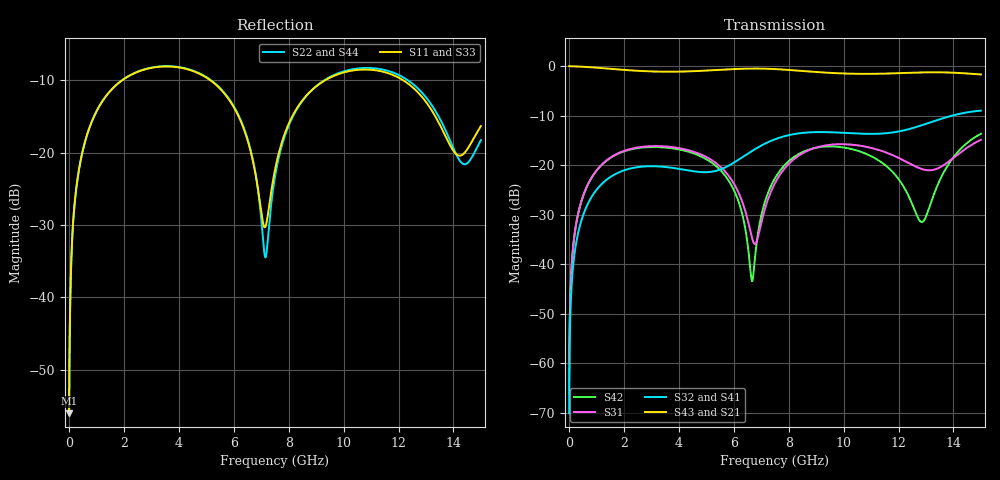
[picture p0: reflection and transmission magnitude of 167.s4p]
! Created with skrf 1.8.0 (http://scikit-rf.org).
# GHz S RI R 50.0
!freq ReS11 ImS11 ReS12 ImS12 ReS13 ImS13
! ReS14 ImS14
! ReS21 ImS21 ReS22 ImS22 ReS23 ImS23
! ReS24 ImS24
! ReS31 ImS31 ReS32 ImS32 ReS33 ImS33
! ReS34 ImS34
! ReS41 ImS41 ReS42 ImS42 ReS43 ImS43
! ReS44 ImS44
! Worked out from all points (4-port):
!   2499 points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, 5 MHz to 15 GHz, reference 50 ohm
!   strongest paths, dB at 5 MHz, 3.476 GHz, 7.19 GHz, 11.1 GHz, 15 GHz:
!     S43: 0.0, -1.1, -0.5, -1.6, -1.7
!     S21: 0.0, -1.1, -0.5, -1.6, -1.7
!     S32: -70.1, -20.3, -15.5, -13.7, -9.0
!     S41: -70.1, -20.3, -15.5, -13.6, -8.9
!     S31: -66.2, -16.2, -27.8, -16.6, -14.9
!     S42: -66.2, -16.4, -26.5, -18.5, -13.7
!   lowest |S11| = -56.0 dB at 5 MHz (marker M1), VSWR 1.00, Z = 50.1 + j0.0962 ohm
!   |S11| at or under -10 dB: start of sweep to 1.934 GHz; 5.151 GHz to 9.322 GHz (4.171 GHz wide, 57.6 % of centre); 12.17 GHz to end of sweep
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0.005  0.00126 0.00096  0.9987 -0.00246  6.19e-05 0.000488  -6.02e-05 -0.000307
       0.9987 -0.00246  0.00126 0.00096  -6.02e-05 -0.000307  6.18e-05 0.000488
       6.19e-05 0.000488  -6.02e-05 -0.000307  0.00126 0.00096  0.9987 -0.00246
       -6.02e-05 -0.000307  6.18e-05 0.000488  0.9987 -0.00246  0.00126 0.00096
0.4126719  0.0234 0.0827  0.9676 -0.2008  0.0111 0.0381  -0.00907 -0.0237
           0.9676 -0.2008  0.0235 0.0827  -0.00906 -0.0237  0.0107 0.0382
           0.0111 0.0381  -0.00906 -0.0237  0.0234 0.0827  0.9676 -0.2008
           -0.00907 -0.0237  0.0107 0.0382  0.9676 -0.2008  0.0235 0.0827
2.125886  0.2847 0.1748  0.5153 -0.7509  0.1334 0.0516  -0.0911 -0.000403
          0.5153 -0.7509  0.2867 0.1732  -0.0909 -0.000587  0.1283 0.059
          0.1334 0.0516  -0.0909 -0.000587  0.2848 0.1747  0.5153 -0.7509
          -0.0911 -0.000403  0.1283 0.059  0.5153 -0.7509  0.2866 0.1733
7.134223  0.0305 -7.52e-05  -0.94 -0.06  -0.00532 0.0357  -0.00437 0.1647
          -0.94 -0.06  0.0188 -0.0044  -0.00751 0.1646  0.0147 0.04
          -0.00532 0.0357  -0.00751 0.1646  0.0289 0.000798  -0.94 -0.06
          -0.00437 0.1647  0.0147 0.04  -0.94 -0.06  0.0202 -0.0036
9.535223  0.3006 0.1414  -0.4716 0.7119  0.1609 -0.00296  0.2054 0.0665
          -0.4716 0.7119  0.3016 0.1479  0.2031 0.0706  0.154 0.0132
          0.1609 -0.00296  0.2031 0.0706  0.3003 0.1436  -0.472 0.7116
          0.2054 0.0665  0.154 0.0132  -0.472 0.7116  0.302 0.1463
12.8491  0.1958 -0.145  0.6011 0.6192  -0.0671 -0.0621  0.176 -0.1819
         0.6011 0.6192  0.2003 -0.167  0.1816 -0.1762  -0.0238 -0.0119
         -0.0671 -0.0621  0.1816 -0.1762  0.1967 -0.1421  0.6007 0.6201
         0.176 -0.1819  -0.0238 -0.0119  0.6007 0.6201  0.1975 -0.1681
15  0.1352 0.0707  0.8115 -0.141  0.0492 0.1737  -0.0953 -0.344
    0.8115 -0.141  0.1109 0.0513  -0.0843 -0.3452  0.1109 0.1752
    0.0492 0.1737  -0.0843 -0.3452  0.1399 0.0742  0.8116 -0.1396
    -0.0953 -0.344  0.1109 0.1752  0.8116 -0.1396  0.1057 0.0515
